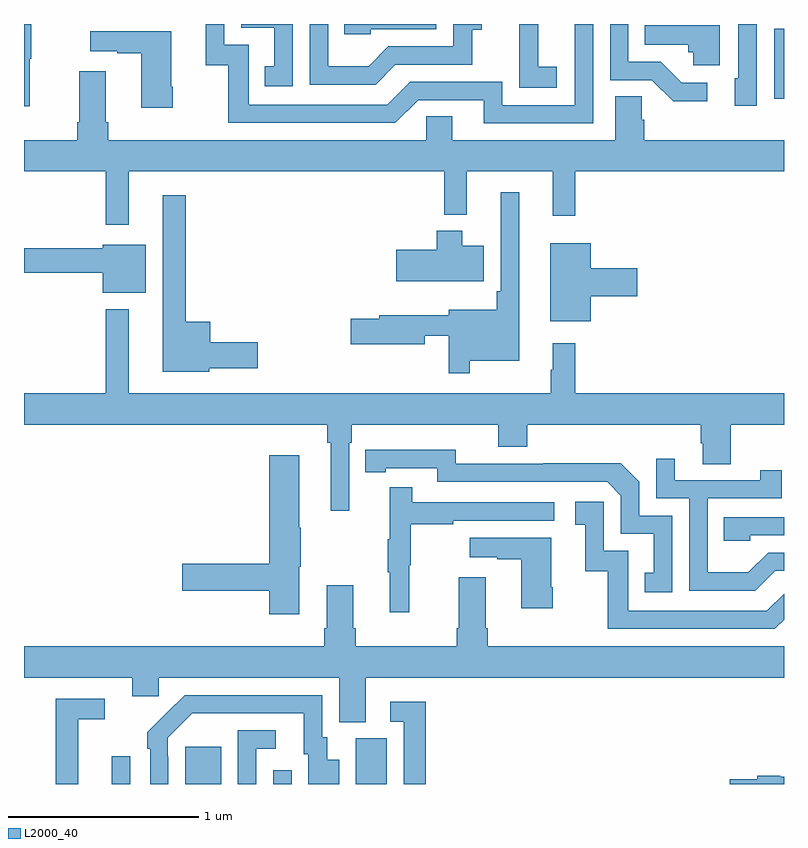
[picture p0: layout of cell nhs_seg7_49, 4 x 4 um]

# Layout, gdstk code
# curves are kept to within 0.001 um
import gdstk
lib = gdstk.Library(unit=1e-6, precision=1e-09)
def R(c, l, rs):  # rectangles x0, y0, x1, y1
    for r in rs: c.add(gdstk.rectangle(r[:2], r[2:], *l))
def P(c, l, *ps):  # polygons
    for p in ps: c.add(gdstk.Polygon(p, *l))
L2000_40 = (2000, 40)

nhs_seg7_49 = lib.new_cell('nhs_seg7_49')
R(nhs_seg7_49, L2000_40, [(113.463,1056,113.559,1056.145), (113.849,1056,114.037,1056.196), (114.312,1056,114.408,1056.073), (114.746,1056,114.91,1056.24), (116.949,1059.606,117,1059.976)])
P(nhs_seg7_49, L2000_40, [(114.955,1059.786),(115.359,1059.786),(115.359,1059.971),(115.408,1059.971),(115.408,1060),(115.26,1060),(115.26,1059.882),(114.918,1059.882),(114.814,1059.778),(114.6,1059.778),(114.6,1060),(114.504,1060),(114.504,1059.681),(114.85,1059.681)],
  [(114.414,1060),(114.144,1060),(114.144,1059.981),(114.317,1059.981),(114.317,1059.777),(114.268,1059.777),(114.268,1059.672),(114.414,1059.672)],
  [(114.825,1059.972),(115.17,1059.972),(115.17,1060),(114.685,1060),(114.685,1059.945),(114.825,1059.945)],
  [(115.804,1059.775),(115.706,1059.775),(115.706,1060),(115.607,1060),(115.607,1059.871),(115.606,1059.871),(115.606,1059.665),(115.804,1059.665)],
  [(116.596,1059.69),(116.461,1059.69),(116.35,1059.801),(116.181,1059.801),(116.181,1060),(116.085,1060),(116.085,1059.705),(116.304,1059.705),(116.417,1059.593),(116.596,1059.593)],
  [(116.856,1060),(116.76,1060),(116.76,1059.714),(116.741,1059.714),(116.741,1059.57),(116.856,1059.57)],
  [(113.03,1059.816),(113.038,1059.816),(113.038,1060),(113,1060),(113,1059.567),(113.03,1059.567)],
  [(115.995,1060),(115.899,1060),(115.899,1059.573),(115.518,1059.573),(115.518,1059.696),(115.032,1059.696),(114.912,1059.576),(114.183,1059.576),(114.183,1059.891),(114.054,1059.891),(114.054,1060),(113.957,1060),(113.957,1059.783),(114.075,1059.783),(114.075,1059.48),(114.954,1059.48),(115.074,1059.6),(115.421,1059.6),(115.421,1059.477),(115.995,1059.477)],
  [(116.662,1059.994),(116.266,1059.994),(116.266,1059.89),(116.497,1059.89),(116.497,1059.852),(116.523,1059.852),(116.523,1059.782),(116.662,1059.782)],
  [(113.784,1059.67),(113.776,1059.67),(113.776,1059.961),(113.349,1059.961),(113.349,1059.857),(113.492,1059.857),(113.492,1059.847),(113.618,1059.847),(113.618,1059.558),(113.784,1059.558)],
  [(113.551,1059.224),(115.213,1059.224),(115.213,1058.996),(115.331,1058.996),(115.331,1059.224),(115.784,1059.224),(115.784,1058.991),(115.901,1058.991),(115.901,1059.224),(117,1059.224),(117,1059.388),(116.264,1059.388),(116.264,1059.497),(116.25,1059.497),(116.25,1059.62),(116.111,1059.62),(116.111,1059.388),(115.255,1059.388),(115.255,1059.515),(115.116,1059.515),(115.116,1059.388),(113.444,1059.388),(113.444,1059.484),(113.431,1059.484),(113.431,1059.751),(113.291,1059.751),(113.291,1059.484),(113.279,1059.484),(113.279,1059.388),(113,1059.388),(113,1059.224),(113.43,1059.224),(113.43,1058.943),(113.551,1058.943)],
  [(115.345,1058.228),(115.606,1058.228),(115.606,1059.115),(115.509,1059.115),(115.509,1058.593),(115.489,1058.593),(115.489,1058.497),(115.235,1058.497),(115.235,1058.467),(114.869,1058.467),(114.869,1058.45),(114.72,1058.45),(114.72,1058.315),(115.108,1058.315),(115.108,1058.358),(115.236,1058.358),(115.236,1058.163),(115.345,1058.163)],
  [(113.976,1058.189),(114.229,1058.189),(114.229,1058.324),(113.98,1058.324),(113.98,1058.434),(113.851,1058.434),(113.851,1059.1),(113.729,1059.1),(113.729,1058.171),(113.976,1058.171)],
  [(115.42,1058.833),(115.306,1058.833),(115.306,1058.911),(115.172,1058.911),(115.172,1058.811),(114.96,1058.811),(114.96,1058.645),(115.42,1058.645)],
  [(115.984,1058.567),(116.227,1058.567),(116.227,1058.714),(115.984,1058.714),(115.984,1058.845),(115.769,1058.845),(115.769,1058.435),(115.984,1058.435)],
  [(113.641,1058.839),(113.414,1058.839),(113.414,1058.821),(113,1058.821),(113,1058.692),(113.414,1058.692),(113.414,1058.585),(113.641,1058.585)],
  [(114.711,1057.796),(114.725,1057.796),(114.725,1057.892),(115.496,1057.892),(115.496,1057.775),(115.649,1057.775),(115.649,1057.892),(116.561,1057.892),(116.561,1057.794),(116.573,1057.794),(116.573,1057.684),(116.721,1057.684),(116.721,1057.892),(117,1057.892),(117,1058.056),(115.901,1058.056),(115.901,1058.32),(115.784,1058.32),(115.784,1058.18),(115.773,1058.18),(115.773,1058.056),(113.551,1058.056),(113.551,1058.5),(113.43,1058.5),(113.43,1058.056),(113,1058.056),(113,1057.892),(114.595,1057.892),(114.595,1057.796),(114.614,1057.796),(114.614,1057.437),(114.711,1057.437)],
  [(116.412,1057.413),(116.238,1057.413),(116.238,1057.59),(116.14,1057.688),(115.732,1057.688),(115.732,1057.686),(115.272,1057.686),(115.272,1057.759),(114.796,1057.758),(114.796,1057.642),(114.904,1057.642),(114.904,1057.662),(115.176,1057.662),(115.176,1057.59),(116.07,1057.59),(116.142,1057.518),(116.142,1057.317),(116.315,1057.317),(116.315,1057.113),(116.266,1057.113),(116.266,1057.008),(116.412,1057.008)],
  [(114.448,1057.143),(114.456,1057.143),(114.456,1057.349),(114.448,1057.349),(114.448,1057.729),(114.29,1057.729),(114.29,1057.16),(113.832,1057.16),(113.832,1057.018),(114.29,1057.018),(114.29,1056.894),(114.448,1056.894)],
  [(116.953,1057.122),(117,1057.122),(117,1057.218),(116.916,1057.218),(116.812,1057.114),(116.598,1057.114),(116.598,1057.503),(116.987,1057.503),(116.987,1057.651),(116.876,1057.651),(116.876,1057.599),(116.425,1057.599),(116.425,1057.711),(116.328,1057.711),(116.328,1057.503),(116.502,1057.503),(116.502,1057.017),(116.848,1057.017)],
  [(115.028,1057.152),(115.036,1057.152),(115.036,1057.366),(115.259,1057.366),(115.259,1057.386),(115.792,1057.386),(115.792,1057.482),(115.043,1057.482),(115.043,1057.561),(114.926,1057.561),(114.926,1057.289),(114.915,1057.289),(114.915,1057.115),(114.926,1057.115),(114.926,1056.903),(115.028,1056.903)],
  [(117,1056.864),(117,1057.002),(116.91,1056.912),(116.181,1056.912),(116.181,1057.227),(116.052,1057.227),(116.052,1057.486),(115.902,1057.486),(115.902,1057.365),(115.955,1057.365),(115.955,1057.119),(116.073,1057.119),(116.073,1056.816),(116.952,1056.816)],
  [(116.823,1057.308),(117,1057.308),(117,1057.404),(116.683,1057.404),(116.683,1057.281),(116.823,1057.281)],
  [(115.782,1057.036),(115.774,1057.036),(115.774,1057.297),(115.347,1057.297),(115.347,1057.193),(115.49,1057.193),(115.49,1057.183),(115.616,1057.183),(115.616,1056.924),(115.782,1056.924)],
  [(114.799,1056.56),(117,1056.56),(117,1056.724),(115.442,1056.724),(115.442,1056.82),(115.429,1056.82),(115.429,1057.087),(115.289,1057.087),(115.289,1056.82),(115.277,1056.82),(115.277,1056.724),(114.746,1056.724),(114.746,1056.82),(114.733,1056.82),(114.733,1057.045),(114.593,1057.045),(114.593,1056.82),(114.581,1056.82),(114.581,1056.724),(113,1056.724),(113,1056.56),(113.57,1056.56),(113.57,1056.462),(113.709,1056.462),(113.709,1056.56),(114.659,1056.56),(114.659,1056.325),(114.799,1056.325)],
  [(113.76,1056.143),(113.757,1056.143),(113.757,1056.243),(113.886,1056.372),(114.473,1056.372),(114.473,1056.156),(114.497,1056.156),(114.497,1056),(114.658,1056),(114.658,1056.127),(114.595,1056.127),(114.595,1056.246),(114.57,1056.246),(114.57,1056.468),(113.846,1056.468),(113.649,1056.273),(113.649,1056.185),(113.664,1056.185),(113.664,1056),(113.76,1056)],
  [(113.285,1056.342),(113.425,1056.342),(113.425,1056.45),(113.167,1056.45),(113.167,1056),(113.285,1056)],
  [(115.115,1056.433),(114.927,1056.433),(114.927,1056.327),(114.999,1056.327),(114.999,1056),(115.115,1056)],
  [(114.222,1056.186),(114.325,1056.186),(114.325,1056.282),(114.126,1056.282),(114.126,1056),(114.222,1056)],
  [(117,1056.037),(116.98,1056.037),(116.98,1056.044),(116.86,1056.044),(116.86,1056.024),(116.714,1056.024),(116.714,1056),(117,1056)])

lib.write_gds('nhs_seg7_49.gds')
